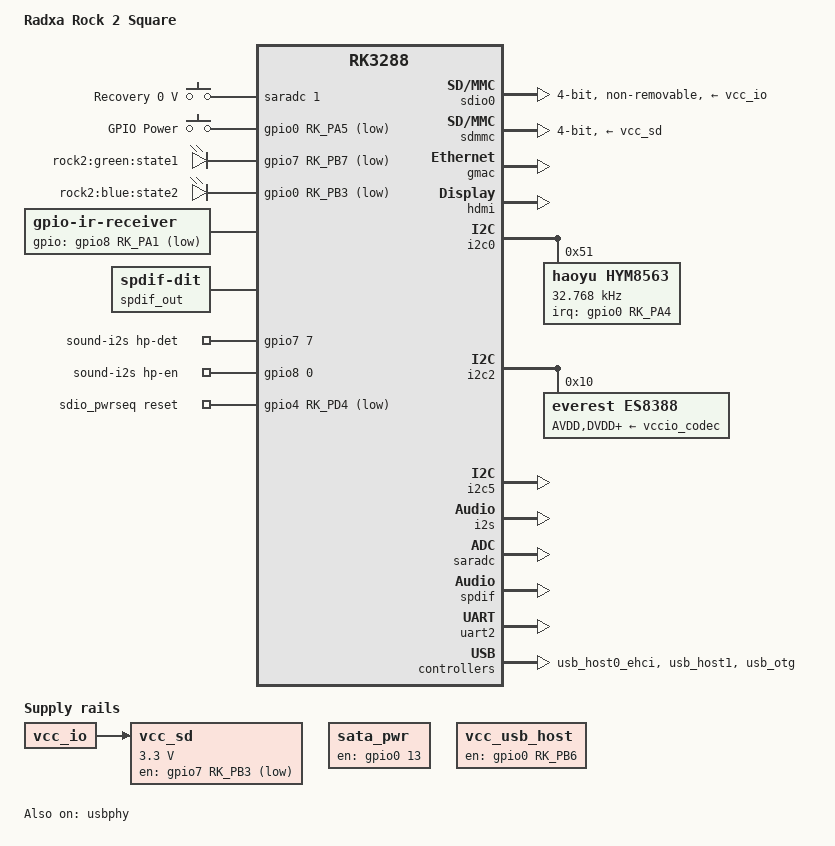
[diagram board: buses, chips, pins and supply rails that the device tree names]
// SPDX-License-Identifier: (GPL-2.0+ OR MIT)

/dts-v1/;
#include <dt-bindings/input/input.h>
#include "rk3288-rock2-som.dtsi"

/ {
	model = "Radxa Rock 2 Square";
	compatible = "radxa,rock2-square", "rockchip,rk3288";

	chosen {
		stdout-path = "serial2:115200n8";
	};

	adc-keys {
		compatible = "adc-keys";
		io-channels = <&saradc 1>;
		io-channel-names = "buttons";
		keyup-threshold-microvolt = <1800000>;

		button-recovery {
			label = "Recovery";
			linux,code = <KEY_VENDOR>;
			press-threshold-microvolt = <0>;
		};
	};

	gpio-keys {
		compatible = "gpio-keys";

		power {
			gpios = <&gpio0 RK_PA5 GPIO_ACTIVE_LOW>;
			label = "GPIO Power";
			linux,code = <KEY_POWER>;
			pinctrl-names = "default";
			pinctrl-0 = <&pwr_key>;
			wakeup-source;
		};
	};

	gpio-leds {
		compatible = "gpio-leds";

		heartbeat_led: led-0 {
			gpios = <&gpio7 RK_PB7 GPIO_ACTIVE_LOW>;
			label = "rock2:green:state1";
			linux,default-trigger = "heartbeat";
		};

		mmc_led: led-1 {
			gpios = <&gpio0 RK_PB3 GPIO_ACTIVE_LOW>;
			label = "rock2:blue:state2";
			linux,default-trigger = "mmc0";
		};
	};

	ir: ir-receiver {
		compatible = "gpio-ir-receiver";
		gpios = <&gpio8 RK_PA1 GPIO_ACTIVE_LOW>;
		pinctrl-names = "default";
		pinctrl-0 = <&ir_int>;
	};

	sound {
		compatible = "simple-audio-card";
		simple-audio-card,name = "SPDIF";
		simple-audio-card,dai-link@1 {  /* S/PDIF - S/PDIF */
			cpu { sound-dai = <&spdif>; };
			codec { sound-dai = <&spdif_out>; };
		};
	};

	sata_pwr: sata-prw-regulator {
		compatible = "regulator-fixed";
		enable-active-high;
		gpio = <&gpio0 13 GPIO_ACTIVE_HIGH>;
		pinctrl-names = "default";
		pinctrl-0 = <&sata_pwr_en>;
		/* Always turn on the 5V sata power connector */
		regulator-always-on;
		regulator-name = "sata_pwr";
	};

	spdif_out: spdif-out {
		compatible = "linux,spdif-dit";
		#sound-dai-cells = <0>;
	};

	sound-i2s {
		compatible = "rockchip,rk3288-hdmi-analog";
		pinctrl-names = "default";
		pinctrl-0 = <&phone_ctl>, <&hp_det>;
		rockchip,audio-codec = <&es8388>;
		rockchip,hp-det-gpios = <&gpio7 7 GPIO_ACTIVE_HIGH>;
		rockchip,hp-en-gpios = <&gpio8 0 GPIO_ACTIVE_HIGH>;
		rockchip,i2s-controller = <&i2s>;
		rockchip,model = "I2S";
		rockchip,routing = "Analog", "LOUT2",
				   "Analog", "ROUT2";
	};

	sdio_pwrseq: sdio-pwrseq {
		compatible = "mmc-pwrseq-simple";
		clocks = <&hym8563>;
		clock-names = "ext_clock";
		pinctrl-names = "default";
		pinctrl-0 = <&wifi_enable>;
		reset-gpios = <&gpio4 RK_PD4 GPIO_ACTIVE_LOW>;
	};

	vcc_usb_host: vcc-host-regulator {
		compatible = "regulator-fixed";
		enable-active-high;
		gpio = <&gpio0 RK_PB6 GPIO_ACTIVE_HIGH>;
		pinctrl-names = "default";
		pinctrl-0 = <&host_vbus_drv>;
		regulator-name = "vcc_host";
	};

	vcc_sd: sdmmc-regulator {
		compatible = "regulator-fixed";
		gpio = <&gpio7 RK_PB3 GPIO_ACTIVE_LOW>;
		pinctrl-names = "default";
		pinctrl-0 = <&sdmmc_pwr>;
		regulator-name = "vcc_sd";
		regulator-min-microvolt = <3300000>;
		regulator-max-microvolt = <3300000>;
		vin-supply = <&vcc_io>;
	};
};

&sdio0 {
	bus-width = <4>;
	cap-sd-highspeed;
	cap-sdio-irq;
	mmc-pwrseq = <&sdio_pwrseq>;
	non-removable;
	pinctrl-names = "default";
	pinctrl-0 = <&sdio0_bus4 &sdio0_cmd &sdio0_clk &sdio0_int>;
	vmmc-supply = <&vcc_io>;
	vqmmc-supply = <&vcc_18>;
	status = "okay";
};

&sdmmc {
	bus-width = <4>;
	cap-mmc-highspeed;
	cap-sd-highspeed;
	card-detect-delay = <200>;
	disable-wp;	/* wp not hooked up */
	pinctrl-names = "default";
	pinctrl-0 = <&sdmmc_clk &sdmmc_cmd &sdmmc_cd &sdmmc_bus4>;
	vmmc-supply = <&vcc_sd>;
	vqmmc-supply = <&vccio_sd>;
	status = "okay";
};

&gmac {
	status = "okay";
};

&hdmi {
	ddc-i2c-bus = <&i2c5>;
	status = "okay";
};

&i2c0 {
	hym8563: rtc@51 {
		compatible = "haoyu,hym8563";
		reg = <0x51>;
		#clock-cells = <0>;
		clock-frequency = <32768>;
		clock-output-names = "xin32k";
		interrupt-parent = <&gpio0>;
		interrupts = <RK_PA4 IRQ_TYPE_EDGE_FALLING>;
		pinctrl-names = "default";
		pinctrl-0 = <&pmic_int>;

	};
};

&i2c2 {
	status = "okay";

	es8388: es8388@10 {
		compatible = "everest,es8388", "everest,es8328";
		reg = <0x10>;
		AVDD-supply = <&vccio_codec>;
		DVDD-supply = <&vccio_codec>;
		HPVDD-supply = <&vccio_codec>;
		PVDD-supply = <&vccio_codec>;
		clocks = <&cru SCLK_I2S0_OUT>;
	};
};

&i2c5 {
	status = "okay";
};

&i2s {
	status = "okay";
};

&pinctrl {
	ir {
		ir_int: ir-int {
			rockchip,pins = <8 RK_PA1 RK_FUNC_GPIO &pcfg_pull_up>;
		};
	};

	keys {
		pwr_key: pwr-key {
			rockchip,pins = <0 RK_PA5 RK_FUNC_GPIO &pcfg_pull_up>;
		};
	};

	pmic {
		pmic_int: pmic-int {
			rockchip,pins = <0 RK_PA4 RK_FUNC_GPIO &pcfg_pull_up>;
		};
	};

	headphone {
		hp_det: hp-det {
			rockchip,pins = <7 RK_PA7 RK_FUNC_GPIO &pcfg_pull_none>;
		};

		phone_ctl: phone-ctl {
			rockchip,pins = <8 RK_PA0 RK_FUNC_GPIO &pcfg_pull_up>;
		};
	};

	usb {
		host_vbus_drv: host-vbus-drv {
			rockchip,pins = <0 RK_PB6 RK_FUNC_GPIO &pcfg_pull_none>;
		};
	};

	sata {
		sata_pwr_en: sata-pwr-en {
			rockchip,pins = <0 RK_PB5 RK_FUNC_GPIO &pcfg_pull_none>;
		};
	};

	sdmmc {
		sdmmc_pwr: sdmmc-pwr {
			rockchip,pins = <7 RK_PB3 RK_FUNC_GPIO &pcfg_pull_none>;
		};
	};

	sdio {
		wifi_enable: wifi-enable {
			rockchip,pins = <4 RK_PD4 RK_FUNC_GPIO &pcfg_pull_none>;
		};
	};
};

&saradc {
	status = "okay";
};

&spdif {
	status = "okay";
};

&uart2 {
	status = "okay";
};

&usbphy {
	status = "okay";
};

&usbphy1 {
	vbus-supply = <&vcc_usb_host>;
};

&usb_host0_ehci {
	status = "okay";
};

&usb_host1 {
	status = "okay";
};

&usb_otg {
	status = "okay";
};
